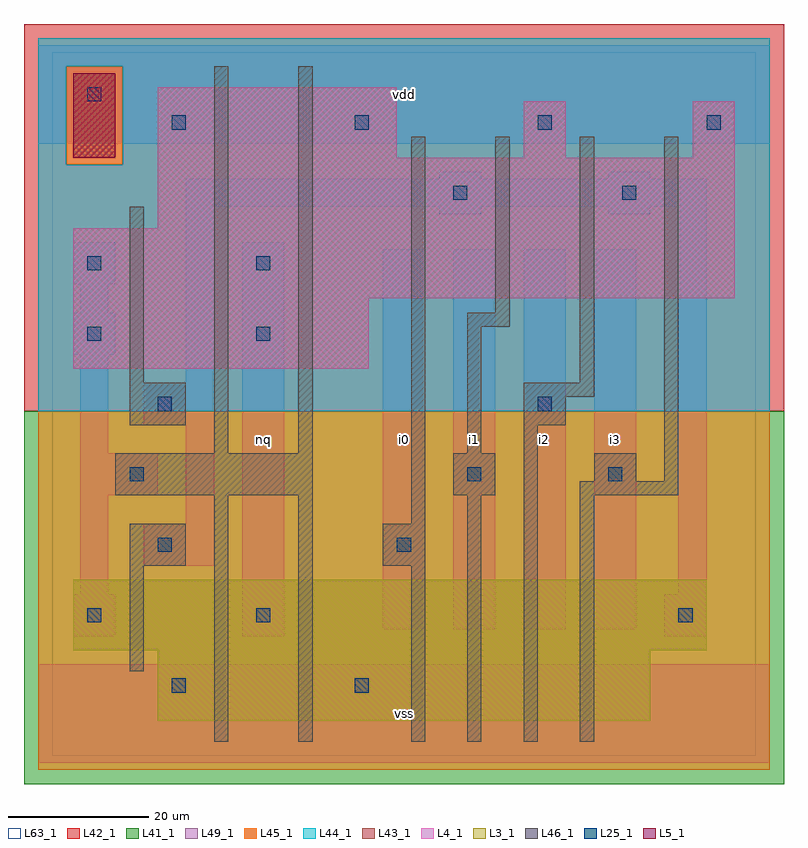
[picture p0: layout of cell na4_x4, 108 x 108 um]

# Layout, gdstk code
import gdstk
lib = gdstk.Library(unit=1e-6, precision=1e-09)
def R(c, l, rs):  # rectangles x0, y0, x1, y1
    for r in rs: c.add(gdstk.rectangle(r[:2], r[2:], *l))
def A(c, l, x, y, w, h, nx, ny, dx, dy):  # array of equal rectangles
    R(c, l, [(x+i*dx, y+j*dy, x+i*dx+w, y+j*dy+h) for i in range(nx) for j in range(ny)])
L3_1 = (3, 1)
L4_1 = (4, 1)
L5_1 = (5, 1)
L25_1 = (25, 1)
L41_1 = (41, 1)
L42_1 = (42, 1)
L43_1 = (43, 1)
L44_1 = (44, 1)
L45_1 = (45, 1)
L46_1 = (46, 1)
L49_1 = (49, 1)
L63_1 = (63, 1)

na4_x4 = lib.new_cell('na4_x4')
R(na4_x4, L3_1, [(15,5,85,15), (3,15,93,25)])
R(na4_x4, L4_1, [(3,55,45,65), (3,65,97,75), (15,75,97,85), (15,85,49,95), (67,85,73,93), (91,85,97,93)])
R(na4_x4, L5_1, [(3,85,9,97)])
A(na4_x4, L25_1, 17, 89, 2, 2, 3, 1, 26, 0)
R(na4_x4, L25_1, [(17,9,19,11), (43,9,45,11), (5,19,7,21), (29,19,31,21), (89,19,91,21), (15,29,17,31), (49,29,51,31), (11,39,13,41), (59,39,61,41), (79,39,81,41), (15,49,17,51), (69,49,71,51), (5,59,7,61), (29,59,31,61), (5,69,7,71), (29,69,31,71), (57,79,59,81), (81,79,83,81), (93,89,95,91), (5,93,7,95)])
R(na4_x4, L41_1, [(-4,-4,104,49)])
R(na4_x4, L42_1, [(-4,49,104,104)])
R(na4_x4, L43_1, [(15,5,85,15), (3,15,93,25), (3,55,45,65), (3,65,97,75), (15,75,97,85), (3,85,9,97), (15,85,49,95), (67,85,73,93), (91,85,97,93)])
R(na4_x4, L44_1, [(-2,49,102,84), (-2,84,2,98), (10,84,102,98), (-2,98,102,102)])
R(na4_x4, L45_1, [(-2,-2,102,49), (2,84,10,98)])
R(na4_x4, L46_1, [(23,2,25,37), (35,2,37,37), (51,2,53,27), (59,2,61,37), (67,2,69,47), (75,2,77,37), (11,12,13,27), (11,27,19,33), (47,27,53,33), (51,33,53,88), (9,37,37,43), (57,37,63,43), (75,37,89,39), (77,39,83,43), (87,39,89,88), (23,43,25,98), (35,43,37,98), (59,43,61,61), (11,47,19,53), (67,47,73,51), (67,51,77,53), (11,53,13,78), (75,53,77,88), (59,61,65,63), (63,63,65,88)])
A(na4_x4, L49_1, 47, 18, 6, 54, 4, 1, 10, 0)
R(na4_x4, L49_1, [(-2,-1,102,13), (3,17,9,23), (27,17,33,73), (87,17,93,23), (4,23,8,37), (89,23,93,78), (13,27,23,33), (19,33,23,47), (4,37,15,43), (4,43,8,57), (13,47,23,53), (19,53,23,78), (3,57,9,63), (4,63,8,67), (3,67,9,73), (55,77,61,78), (79,77,85,78), (19,78,93,82), (55,82,61,83), (79,82,85,83), (-2,87,102,101)])
R(na4_x4, L63_1, [(0,0,100,100)])
na4_x4.add(gdstk.Label('nq', (30,45), layer=49, texttype=1))
na4_x4.add(gdstk.Label('nq', (30,45), layer=49, texttype=1))
na4_x4.add(gdstk.Label('vss', (50,6), layer=49, texttype=1))
na4_x4.add(gdstk.Label('vss', (50,6), layer=49, texttype=1))
na4_x4.add(gdstk.Label('i0', (50,45), layer=49, texttype=1))
na4_x4.add(gdstk.Label('i0', (50,45), layer=49, texttype=1))
na4_x4.add(gdstk.Label('i2', (70,45), layer=49, texttype=1))
na4_x4.add(gdstk.Label('i1', (60,45), layer=49, texttype=1))
na4_x4.add(gdstk.Label('i2', (70,45), layer=49, texttype=1))
na4_x4.add(gdstk.Label('i1', (60,45), layer=49, texttype=1))
na4_x4.add(gdstk.Label('vdd', (50,94), layer=49, texttype=1))
na4_x4.add(gdstk.Label('vdd', (50,94), layer=49, texttype=1))
na4_x4.add(gdstk.Label('i3', (80,45), layer=49, texttype=1))
na4_x4.add(gdstk.Label('i3', (80,45), layer=49, texttype=1))

lib.write_gds('na4_x4.gds')
